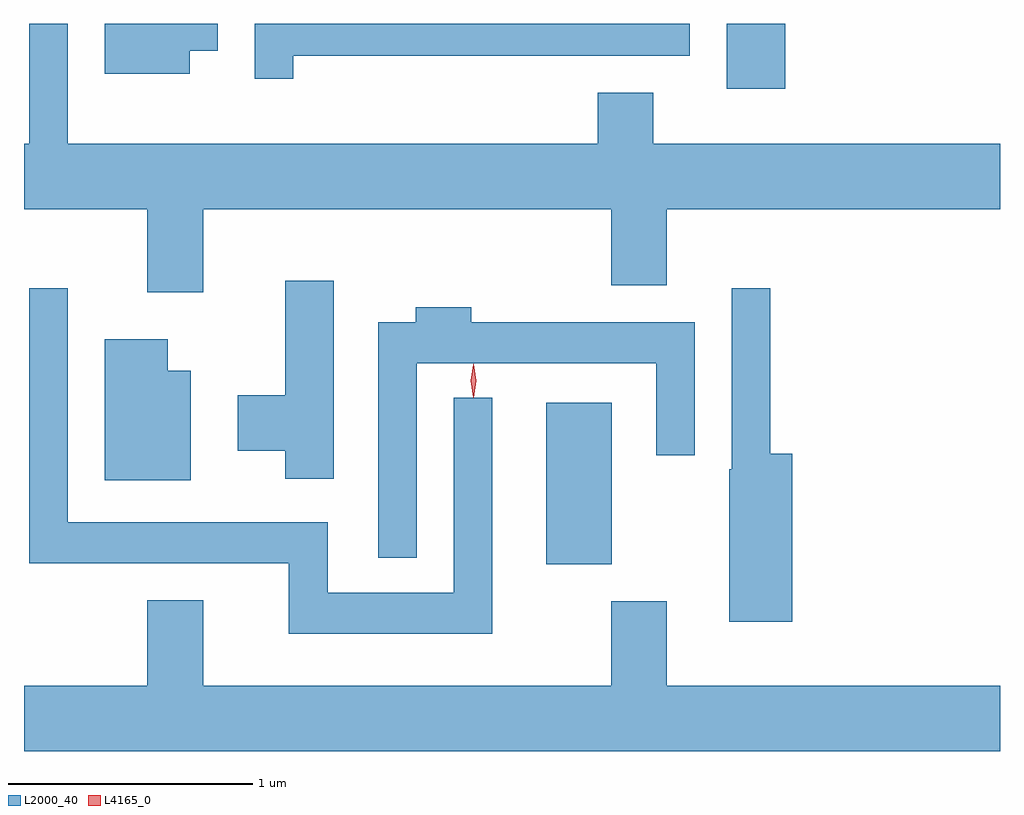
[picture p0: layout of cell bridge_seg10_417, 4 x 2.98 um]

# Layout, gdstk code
import gdstk
lib = gdstk.Library(unit=1e-6, precision=1e-09)
def R(c, l, rs):  # rectangles x0, y0, x1, y1
    for r in rs: c.add(gdstk.rectangle(r[:2], r[2:], *l))
def P(c, l, *ps):  # polygons
    for p in ps: c.add(gdstk.Polygon(p, *l))
L2000_40 = (2000, 40)
L4165_0 = (4165, 0)

bridge_seg10_417 = lib.new_cell('bridge_seg10_417')
R(bridge_seg10_417, L2000_40, [(1377.796,2092.481,1378.064,2093.144), (1378.536,2094.431,1378.774,2094.696)])
P(bridge_seg10_417, L2000_40, [(1376.389,2093.936),(1378.061,2093.936),(1378.061,2093.626),(1378.289,2093.626),(1378.289,2093.936),(1379.655,2093.936),(1379.655,2094.204),(1378.234,2094.204),(1378.234,2094.414),(1378.006,2094.414),(1378.006,2094.204),(1375.834,2094.204),(1375.834,2094.696),(1375.676,2094.696),(1375.676,2094.204),(1375.655,2094.204),(1375.655,2093.936),(1376.161,2093.936),(1376.161,2093.596),(1376.389,2093.596)],
  [(1376.334,2094.586),(1376.449,2094.586),(1376.449,2094.696),(1375.986,2094.696),(1375.986,2094.491),(1376.334,2094.491)],
  [(1376.759,2094.566),(1378.384,2094.566),(1378.384,2094.696),(1376.601,2094.696),(1376.601,2094.472),(1376.759,2094.472)],
  [(1376.924,2093.644),(1376.726,2093.644),(1376.726,2093.174),(1376.531,2093.174),(1376.531,2092.946),(1376.726,2092.946),(1376.726,2092.831),(1376.924,2092.831)],
  [(1377.574,2093.163),(1377.416,2093.163),(1377.416,2092.364),(1376.899,2092.364),(1376.899,2092.654),(1375.834,2092.654),(1375.834,2093.613),(1375.676,2093.613),(1375.676,2092.486),(1376.741,2092.486),(1376.741,2092.196),(1377.574,2092.196)],
  [(1378.804,2092.934),(1378.714,2092.934),(1378.714,2093.613),(1378.556,2093.613),(1378.556,2092.87),(1378.546,2092.87),(1378.546,2092.246),(1378.804,2092.246)],
  [(1377.264,2093.306),(1378.246,2093.306),(1378.246,2092.928),(1378.404,2092.928),(1378.404,2093.474),(1377.489,2093.474),(1377.489,2093.534),(1377.261,2093.534),(1377.261,2093.474),(1377.106,2093.474),(1377.106,2092.508),(1377.264,2092.508)],
  [(1376.339,2093.274),(1376.244,2093.274),(1376.244,2093.404),(1375.986,2093.404),(1375.986,2092.826),(1376.339,2092.826)],
  [(1379.655,2091.984),(1378.289,2091.984),(1378.289,2092.329),(1378.061,2092.329),(1378.061,2091.984),(1376.389,2091.984),(1376.389,2092.334),(1376.161,2092.334),(1376.161,2091.984),(1375.655,2091.984),(1375.655,2091.716),(1379.655,2091.716)])
P(bridge_seg10_417, L4165_0, [(1377.498,2093.163),(1377.497,2093.164),(1377.488,2093.233),(1377.497,2093.302),(1377.498,2093.303),(1377.498,2093.302),(1377.508,2093.233),(1377.498,2093.164)],
  [(1377.496,2093.167),(1377.496,2093.167),(1377.486,2093.234),(1377.496,2093.3),(1377.496,2093.301),(1377.497,2093.3),(1377.506,2093.234),(1377.497,2093.167)])

lib.write_gds('bridge_seg10_417.gds')
